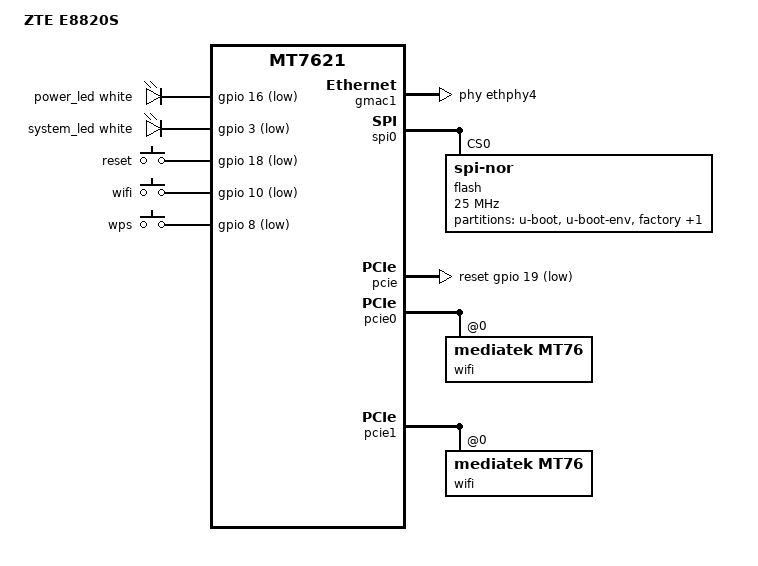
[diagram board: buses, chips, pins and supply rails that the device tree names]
// SPDX-License-Identifier: GPL-2.0-or-later OR MIT

#include "mt7621.dtsi"

#include <dt-bindings/gpio/gpio.h>
#include <dt-bindings/input/input.h>
#include <dt-bindings/leds/common.h>

/ {
	compatible = "zte,e8820s", "mediatek,mt7621-soc";
	model = "ZTE E8820S";

	aliases {
		led-boot = &power_led;
		led-failsafe = &system_led;
		led-running = &system_led;
		led-upgrade = &system_led;
		label-mac-device = &gmac0;
	};

	chosen {
		bootargs = "console=ttyS0,115200";
	};

	gpio-leds {
		compatible = "gpio-leds";

		power_led: led-power {
			function = LED_FUNCTION_POWER;
			color = <LED_COLOR_ID_WHITE>;
			gpios = <&gpio 16 GPIO_ACTIVE_LOW>;
		};

		system_led: led-system {
			function = LED_FUNCTION_STATUS;
			color = <LED_COLOR_ID_WHITE>;
			gpios = <&gpio 3 GPIO_ACTIVE_LOW>;
		};
	};

	gpio-keys {
		compatible = "gpio-keys";

		button-reset {
			label = "reset";
			gpios = <&gpio 18 GPIO_ACTIVE_LOW>;
			linux,code = <KEY_RESTART>;
		};

		button-wifi {
			label = "wifi";
			gpios = <&gpio 10 GPIO_ACTIVE_LOW>;
			linux,code = <KEY_RFKILL>;
		};

		button-wps {
			label = "wps";
			gpios = <&gpio 8 GPIO_ACTIVE_LOW>;
			linux,code = <KEY_WPS_BUTTON>;
		};
	};
};

&ethphy4 {
	/delete-property/ interrupts;
};

&gmac0 {
	nvmem-cells = <&macaddr_config_12 0>;
	nvmem-cell-names = "mac-address";
};

&gmac1 {
	status = "okay";
	label = "wan";
	phy-handle = <&ethphy4>;

	nvmem-cells = <&macaddr_config_12 0>;
	nvmem-cell-names = "mac-address";
};

&spi0 {
	status = "okay";

	flash@0 {
		compatible = "jedec,spi-nor";
		reg = <0>;
		spi-max-frequency = <25000000>;
		broken-flash-reset;
		m25p,fast-read;

		partitions {
			compatible = "fixed-partitions";
			#address-cells = <1>;
			#size-cells = <1>;

			partition@0 {
				label = "u-boot";
				reg = <0x0 0x30000>;
				read-only;
			};

			partition@30000 {
				label = "u-boot-env";
				reg = <0x30000 0x10000>;
				read-only;
			};

			partition@40000 {
				label = "factory";
				reg = <0x40000 0x10000>;
				read-only;

				nvmem-layout {
					compatible = "fixed-layout";
					#address-cells = <1>;
					#size-cells = <1>;

					eeprom_factory_0: eeprom@0 {
						reg = <0x0 0x400>;
					};

					eeprom_factory_8000: eeprom@8000 {
						reg = <0x8000 0x200>;
					};

					macaddr_factory_e000: macaddr@e000 {
						compatible = "mac-base";
						reg = <0xe000 0x6>;
						#nvmem-cell-cells = <1>;
					};
				};
			};

			partition@50000 {
				compatible = "denx,uimage";
				label = "firmware";
				reg = <0x50000 0x7fb0000>;
			};
		};
	};
};

&pcie {
	reset-gpios = <&gpio 19 GPIO_ACTIVE_LOW>,
		      <&gpio 4 GPIO_ACTIVE_LOW>;
	status = "okay";
};

&pcie0 {
	wifi@0,0 {
		compatible = "mediatek,mt76";
		reg = <0x0000 0 0 0 0>;
		nvmem-cells = <&eeprom_factory_f000>, <&macaddr_config_12 0>;
		nvmem-cell-names = "eeprom", "mac-address";
		ieee80211-freq-limit = <2400000 2500000>;

		led {
			led-active-low;
		};
	};
};

&pcie1 {
	wifi@0,0 {
		compatible = "mediatek,mt76";
		reg = <0x0000 0 0 0 0>;
		nvmem-cells = <&eeprom_factory_f800>, <&macaddr_config_12 1>;
		nvmem-cell-names = "eeprom", "mac-address";
		ieee80211-freq-limit = <5000000 6000000>;

		led {
			led-active-low;
			led-sources = <2>;
		};
	};
};

&switch0 {
	ports {
		port@0 {
			status = "okay";
			label = "lan1";
		};

		port@1 {
			status = "okay";
			label = "lan2";
		};

		port@2 {
			status = "okay";
			label = "lan3";
		};

		port@3 {
			status = "okay";
			label = "lan4";
		};
	};
};

&state_default {
	gpio {
		groups = "jtag", "uart2", "uart3", "wdt";
		function = "gpio";
	};
};
